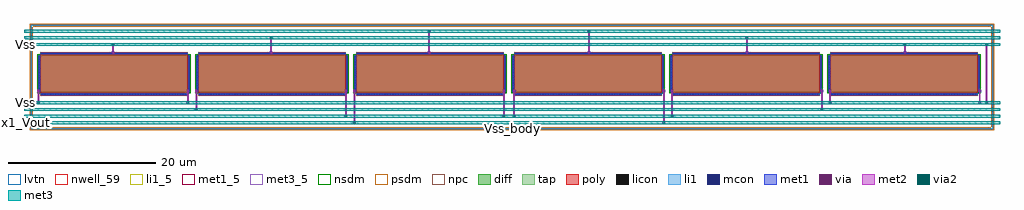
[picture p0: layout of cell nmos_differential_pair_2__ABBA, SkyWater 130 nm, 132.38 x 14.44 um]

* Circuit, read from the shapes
.subckt nmos_differential_pair_2__ABBA Vom1 Vref Vss Vss_body x1_Vout x1_net7 x1_net9
XM1 Vss Vss Vss Vss_body sky130_fd_pr__nfet_01v8_lvt w=5 l=20 m=2
XM2 x1_net7 Vom1 x1_net9 Vss_body sky130_fd_pr__nfet_01v8_lvt w=5 l=20 m=2
XM3 x1_net7 Vref x1_Vout Vss_body sky130_fd_pr__nfet_01v8_lvt w=5 l=20 m=2
.ends

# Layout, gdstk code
from math import pi, radians
import gdstk
lib = gdstk.Library(unit=1e-6, precision=1e-09)
def R(c, l, rs):  # rectangles x0, y0, x1, y1
    for r in rs: c.add(gdstk.rectangle(r[:2], r[2:], *l))
def A(c, l, x, y, w, h, nx, ny, dx, dy):  # array of equal rectangles
    R(c, l, [(x+i*dx, y+j*dy, x+i*dx+w, y+j*dy+h) for i in range(nx) for j in range(ny)])
nwell_59 = (64, 59)
diff = (65, 20)
tap = (65, 44)
poly = (66, 20)
licon = (66, 44)
li1_5 = (67, 5)
li1 = (67, 20)
mcon = (67, 44)
met1_5 = (68, 5)
met1 = (68, 20)
via = (68, 44)
met2 = (69, 20)
via2 = (69, 44)
met3_5 = (70, 5)
met3 = (70, 20)
nsdm = (93, 44)
psdm = (94, 20)
npc = (95, 20)
lvtn = (125, 44)

sky130_fd_pr__nfet_01v8_ = lib.new_cell('sky130_fd_pr__nfet_01v8_lvt_KUHQTA')
R(sky130_fd_pr__nfet_01v8_, diff, [(-10.29,-2.5,10.29,2.5)])
R(sky130_fd_pr__nfet_01v8_, poly, [(-10,-2.94,10,2.94)])
A(sky130_fd_pr__nfet_01v8_, licon, -9.775, -2.86, 0.17, 0.17, 58, 2, 0.34, 5.55)
A(sky130_fd_pr__nfet_01v8_, licon, -10.23, -2.295, 0.17, 0.17, 1, 14, 0, 0.34)
A(sky130_fd_pr__nfet_01v8_, licon, 10.06, -2.295, 0.17, 0.17, 1, 14, 0, 0.34)
R(sky130_fd_pr__nfet_01v8_, li1, [(-10,-2.86,10,-2.69), (-10.23,-2.52,-10.06,2.52), (10.06,-2.52,10.23,2.52), (-10,2.69,10,2.86)])
A(sky130_fd_pr__nfet_01v8_, mcon, -9.805, -2.86, 0.17, 0.17, 55, 2, 0.36, 5.55)
A(sky130_fd_pr__nfet_01v8_, mcon, -10.23, -2.425, 0.17, 0.17, 1, 14, 0, 0.36)
A(sky130_fd_pr__nfet_01v8_, mcon, 10.06, -2.425, 0.17, 0.17, 1, 14, 0, 0.36)
R(sky130_fd_pr__nfet_01v8_, met1, [(-9.98,-2.89,9.98,-2.66), (-10.26,-2.5,-10.03,2.5), (10.03,-2.5,10.26,2.5), (-9.98,2.66,9.98,2.89)])
R(sky130_fd_pr__nfet_01v8_, nsdm, [(-10.415,-2.625,10.415,2.625)])
R(sky130_fd_pr__nfet_01v8_, npc, [(-9.875,-2.96,9.875,-2.59), (-9.875,2.59,9.875,2.96)])
R(sky130_fd_pr__nfet_01v8_, lvtn, [(-10.18,-2.68,10.18,2.68)])
sky130_fd_pr__nfet_01v8_.add(gdstk.Label('D', (-10.145,0), layer=67, texttype=5))
sky130_fd_pr__nfet_01v8_.add(gdstk.Label('S', (10.145,0), layer=67, texttype=5))
sky130_fd_pr__nfet_01v8_.add(gdstk.Label('G', (0,2.775), layer=67, texttype=5))

nfet_01v8_lvt_w5_l20_m2_ = lib.new_cell('nfet_01v8_lvt_W5_L20_m2__nf1_gboth_sdfull_ng')
R(nfet_01v8_lvt_w5_l20_m2_, nwell_59, [(0.05,2.89,0.15,2.99)])
R(nfet_01v8_lvt_w5_l20_m2_, met1_5, [(0.03,2.94,0.26,3.14), (20.32,2.94,20.55,3.14), (0.31,5.6,20.27,5.83)])
R(nfet_01v8_lvt_w5_l20_m2_, met1, [(0.03,2.94,0.26,3.14), (20.32,2.94,20.55,3.14), (0.31,5.6,20.27,5.83)])
nfet_01v8_lvt_w5_l20_m2_.add(gdstk.Reference(sky130_fd_pr__nfet_01v8_, (10.29,2.94)))
nfet_01v8_lvt_w5_l20_m2_.add(gdstk.Label('D', (0.145,3.04), layer=68, texttype=5))
nfet_01v8_lvt_w5_l20_m2_.add(gdstk.Label('S', (20.435,3.04), layer=68, texttype=5))
nfet_01v8_lvt_w5_l20_m2_.add(gdstk.Label('G', (10.29,5.715), layer=68, texttype=5))
nfet_01v8_lvt_w5_l20_m2_.add(gdstk.Label('B', (0.1,2.94), layer=64, texttype=59))

nmos_differential_pair_2 = lib.new_cell('nmos_differential_pair_2__ABBA')
R(nmos_differential_pair_2, tap, [(-0.885,-4.585,129.665,-4.415), (-0.885,-4.415,-0.715,9.435), (129.495,-4.415,129.665,9.435), (-0.885,9.435,129.665,9.605)])
A(nmos_differential_pair_2, licon, -0.465, -4.585, 0.17, 0.17, 382, 2, 0.34, 14.02)
A(nmos_differential_pair_2, licon, -0.885, -4.205, 0.17, 0.17, 1, 40, 0, 0.34)
A(nmos_differential_pair_2, licon, 129.495, -4.205, 0.17, 0.17, 1, 40, 0, 0.34)
R(nmos_differential_pair_2, li1_5, [(64.34,-4.55,64.44,-4.45)])
R(nmos_differential_pair_2, li1, [(-0.885,-4.585,129.665,-4.415), (-0.885,-4.415,-0.715,9.435), (129.495,-4.415,129.665,9.435), (-0.885,9.435,129.665,9.605)])
A(nmos_differential_pair_2, met1, 10.11, 5.63, 0.36, 0.36, 3, 1, 21.43, 0)
A(nmos_differential_pair_2, met1, 74.65, 5.63, 0.36, 0.36, 3, 1, 21.43, 0)
R(nmos_differential_pair_2, met1, [(-0.035,0.44,0.325,0.8), (20.255,0.44,20.615,0.8), (21.395,0.44,21.755,0.8), (41.685,0.44,42.045,0.8), (42.825,0.44,43.185,0.8), (63.115,0.44,63.475,0.8), (64.505,0.44,64.865,0.8), (84.795,0.44,85.155,0.8), (85.935,0.44,86.295,0.8), (106.225,0.44,106.585,0.8), (107.365,0.44,107.725,0.8), (127.655,0.44,128.015,0.8)])
A(nmos_differential_pair_2, via, 10.215, 5.735, 0.15, 0.15, 3, 1, 21.43, 0)
A(nmos_differential_pair_2, via, 74.755, 5.735, 0.15, 0.15, 3, 1, 21.43, 0)
R(nmos_differential_pair_2, via, [(0.07,0.545,0.22,0.695), (20.36,0.545,20.51,0.695), (21.5,0.545,21.65,0.695), (41.79,0.545,41.94,0.695), (42.93,0.545,43.08,0.695), (63.22,0.545,63.37,0.695), (64.61,0.545,64.76,0.695), (84.9,0.545,85.05,0.695), (86.04,0.545,86.19,0.695), (106.33,0.545,106.48,0.695), (107.47,0.545,107.62,0.695), (127.76,0.545,127.91,0.695)])
A(nmos_differential_pair_2, met2, 10.16, 5.65, 0.26, 0.32, 3, 1, 21.43, 0)
A(nmos_differential_pair_2, met2, 74.7, 5.65, 0.26, 0.32, 3, 1, 21.43, 0)
R(nmos_differential_pair_2, met2, [(42.805,-3.9,43.205,-3.5), (84.775,-3.9,85.175,-3.5), (42.905,-3.5,43.105,0.46), (84.875,-3.5,85.075,0.46), (41.665,-3,42.065,-2.6), (63.095,-3,63.495,-2.6), (64.485,-3,64.885,-2.6), (85.915,-3,86.315,-2.6), (41.765,-2.6,41.965,0.46), (63.195,-2.6,63.395,0.46), (64.585,-2.6,64.785,0.46), (86.015,-2.6,86.215,0.46), (21.375,-2.1,21.775,-1.7), (106.205,-2.1,106.605,-1.7), (21.475,-1.7,21.675,0.46), (106.305,-1.7,106.505,0.46), (-0.055,-1.2,0.345,-0.8), (20.235,-1.2,20.635,-0.8), (107.345,-1.2,107.745,-0.8), (127.635,-1.2,128.035,-0.8), (128.58,-1.2,128.98,-0.8), (0.045,-0.8,0.245,0.46), (20.335,-0.8,20.535,0.46), (107.445,-0.8,107.645,0.46), (127.735,-0.8,127.935,0.46), (128.68,-0.8,128.88,6.72), (0.015,0.46,0.275,0.78), (20.305,0.46,20.565,0.78), (21.445,0.46,21.705,0.78), (41.735,0.46,41.995,0.78), (42.875,0.46,43.135,0.78), (63.165,0.46,63.425,0.78), (64.555,0.46,64.815,0.78), (84.845,0.46,85.105,0.78), (85.985,0.46,86.245,0.78), (106.275,0.46,106.535,0.78), (107.415,0.46,107.675,0.78), (127.705,0.46,127.965,0.78), (10.19,5.97,10.39,6.72), (31.62,5.97,31.82,7.62), (53.05,5.97,53.25,8.52), (74.73,5.97,74.93,8.52), (96.16,5.97,96.36,7.62), (117.59,5.97,117.79,6.72), (10.09,6.72,10.49,7.12), (117.49,6.72,117.89,7.12), (128.58,6.72,128.98,7.12), (31.52,7.62,31.92,8.02), (96.06,7.62,96.46,8.02), (52.95,8.52,53.35,8.92), (74.63,8.52,75.03,8.92)])
R(nmos_differential_pair_2, via2, [(42.905,-3.8,43.105,-3.6), (84.875,-3.8,85.075,-3.6), (41.765,-2.9,41.965,-2.7), (63.195,-2.9,63.395,-2.7), (64.585,-2.9,64.785,-2.7), (86.015,-2.9,86.215,-2.7), (21.475,-2,21.675,-1.8), (106.305,-2,106.505,-1.8), (0.045,-1.1,0.245,-0.9), (20.335,-1.1,20.535,-0.9), (107.445,-1.1,107.645,-0.9), (127.735,-1.1,127.935,-0.9), (128.68,-1.1,128.88,-0.9), (10.19,6.82,10.39,7.02), (117.59,6.82,117.79,7.02), (128.68,6.82,128.88,7.02), (31.62,7.72,31.82,7.92), (96.16,7.72,96.36,7.92), (53.05,8.62,53.25,8.82), (74.73,8.62,74.93,8.82)])
A(nmos_differential_pair_2, met3_5, -1.7, -3.75, 0.1, 0.1, 1, 4, 0, 0.9)
A(nmos_differential_pair_2, met3_5, -1.7, 6.87, 0.1, 0.1, 1, 3, 0, 0.9)
A(nmos_differential_pair_2, met3, -1.8, -3.9, 132.38, 0.4, 1, 4, 0, 0.9)
A(nmos_differential_pair_2, met3, -1.8, 6.72, 132.38, 0.4, 1, 3, 0, 0.9)
R(nmos_differential_pair_2, psdm, [(-1.01,-4.71,129.79,-4.29), (-1.01,-4.29,-0.59,9.31), (129.37,-4.29,129.79,9.31), (-1.01,9.31,129.79,9.73)])
nmos_differential_pair_2.add(gdstk.Reference(nfet_01v8_lvt_w5_l20_m2_, (127.86,0), rotation=pi, x_reflection=True))
nmos_differential_pair_2.add(gdstk.Reference(nfet_01v8_lvt_w5_l20_m2_, (106.43,0), rotation=pi, x_reflection=True))
nmos_differential_pair_2.add(gdstk.Reference(nfet_01v8_lvt_w5_l20_m2_, (85,0), rotation=pi, x_reflection=True))
nmos_differential_pair_2.add(gdstk.Reference(nfet_01v8_lvt_w5_l20_m2_, (42.99,0)))
nmos_differential_pair_2.add(gdstk.Reference(nfet_01v8_lvt_w5_l20_m2_, (21.56,0)))
nmos_differential_pair_2.add(gdstk.Reference(nfet_01v8_lvt_w5_l20_m2_, (0.13,0)))
nmos_differential_pair_2.add(gdstk.Label('Vss', (-1.65,6.92), layer=70, texttype=5))
nmos_differential_pair_2.add(gdstk.Label('Vom1', (-1.65,7.82), layer=70, texttype=5))
nmos_differential_pair_2.add(gdstk.Label('Vref', (-1.65,8.72), layer=70, texttype=5))
nmos_differential_pair_2.add(gdstk.Label('Vss', (-1.65,-1), layer=70, texttype=5))
nmos_differential_pair_2.add(gdstk.Label('x1_net9', (-1.65,-1.9), layer=70, texttype=5))
nmos_differential_pair_2.add(gdstk.Label('x1_net7', (-1.65,-2.8), layer=70, texttype=5))
nmos_differential_pair_2.add(gdstk.Label('x1_Vout', (-1.65,-3.7), layer=70, texttype=5))
nmos_differential_pair_2.add(gdstk.Label('Vss_body', (64.39,-4.5), layer=67, texttype=5))

lib.write_gds('nmos_differential_pair_2__ABBA.gds')
